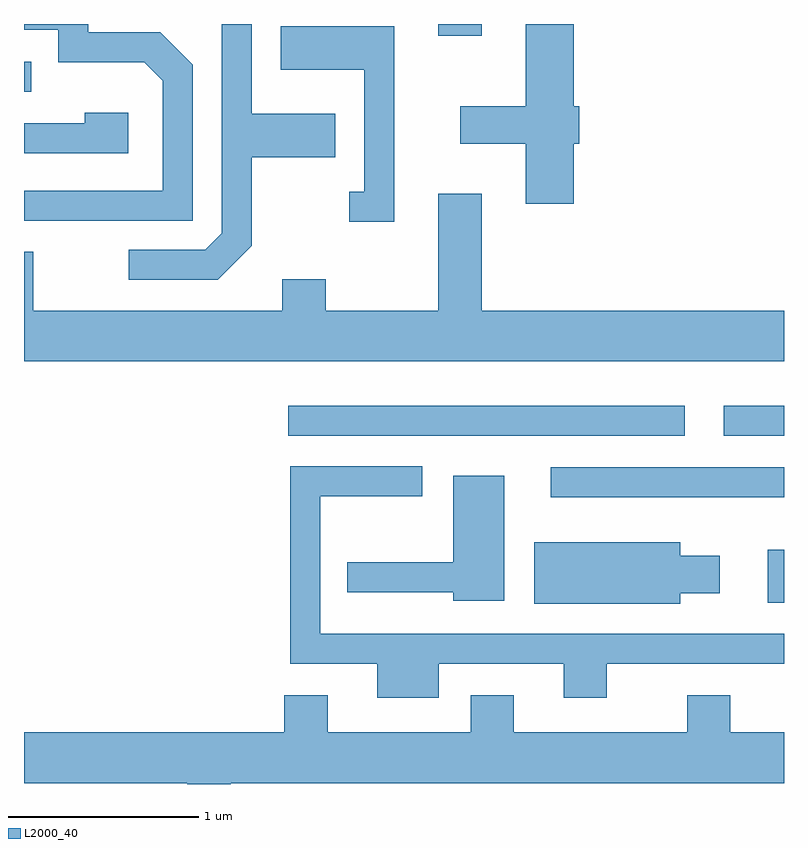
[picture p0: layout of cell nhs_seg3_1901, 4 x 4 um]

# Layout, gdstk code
import gdstk
lib = gdstk.Library(unit=1e-6, precision=1e-09)
def R(c, l, rs):  # rectangles x0, y0, x1, y1
    for r in rs: c.add(gdstk.rectangle(r[:2], r[2:], *l))
def P(c, l, *ps):  # polygons
    for p in ps: c.add(gdstk.Polygon(p, *l))
L2000_40 = (2000, 40)

nhs_seg3_1901 = lib.new_cell('nhs_seg3_1901')
R(nhs_seg3_1901, L2000_40, [(243.526,1246.846,243.611,1247.124), (242.383,1247.401,243.611,1247.559), (241.003,1247.726,243.088,1247.884), (243.293,1247.726,243.611,1247.884), (239.611,1249.536,239.648,1249.694), (241.791,1249.831,242.019,1249.892)])
P(nhs_seg3_1901, L2000_40, [(240.499,1249.677),(240.327,1249.849),(239.949,1249.849),(239.949,1249.892),(239.611,1249.892),(239.611,1249.861),(239.791,1249.861),(239.791,1249.691),(240.244,1249.691),(240.341,1249.594),(240.341,1249.014),(239.611,1249.014),(239.611,1248.856),(240.499,1248.856)],
  [(242.504,1249.261),(242.534,1249.261),(242.534,1249.459),(242.504,1249.459),(242.504,1249.892),(242.251,1249.892),(242.251,1249.459),(241.906,1249.459),(241.906,1249.261),(242.251,1249.261),(242.251,1248.946),(242.504,1248.946)],
  [(240.809,1248.724),(240.809,1249.191),(241.249,1249.191),(241.249,1249.419),(240.809,1249.419),(240.809,1249.892),(240.651,1249.892),(240.651,1248.792),(240.564,1248.704),(240.163,1248.704),(240.163,1248.546),(240.632,1248.546)],
  [(241.559,1249.879),(240.961,1249.879),(240.961,1249.651),(241.401,1249.651),(241.401,1249.009),(241.323,1249.009),(241.323,1248.851),(241.559,1248.851)],
  [(240.159,1249.424),(239.931,1249.424),(239.931,1249.369),(239.611,1249.369),(239.611,1249.211),(240.159,1249.211)],
  [(243.611,1248.384),(242.019,1248.384),(242.019,1248.999),(241.791,1248.999),(241.791,1248.384),(241.199,1248.384),(241.199,1248.549),(240.971,1248.549),(240.971,1248.384),(239.659,1248.384),(239.659,1248.694),(239.611,1248.694),(239.611,1248.116),(243.611,1248.116)],
  [(241.794,1246.526),(242.451,1246.526),(242.451,1246.346),(242.679,1246.346),(242.679,1246.526),(243.611,1246.526),(243.611,1246.684),(241.169,1246.684),(241.169,1247.406),(241.708,1247.406),(241.708,1247.564),(241.011,1247.564),(241.011,1246.526),(241.471,1246.526),(241.471,1246.346),(241.794,1246.346)],
  [(242.139,1247.514),(241.871,1247.514),(241.871,1247.059),(241.313,1247.059),(241.313,1246.901),(241.871,1246.901),(241.871,1246.856),(242.139,1246.856)],
  [(243.064,1246.896),(243.274,1246.896),(243.274,1247.094),(243.064,1247.094),(243.064,1247.164),(242.296,1247.164),(242.296,1246.841),(243.064,1246.841)],
  [(240.699,1245.896),(243.611,1245.896),(243.611,1246.164),(243.329,1246.164),(243.329,1246.359),(243.101,1246.359),(243.101,1246.164),(242.189,1246.164),(242.189,1246.359),(241.961,1246.359),(241.961,1246.164),(241.209,1246.164),(241.209,1246.359),(240.981,1246.359),(240.981,1246.164),(239.611,1246.164),(239.611,1245.896),(240.471,1245.896),(240.471,1245.892),(240.699,1245.892)])

lib.write_gds('nhs_seg3_1901.gds')
